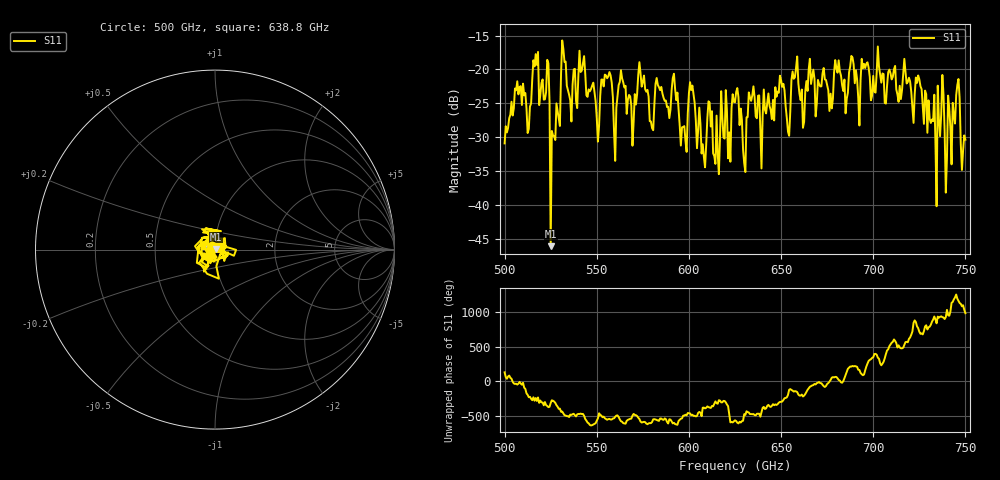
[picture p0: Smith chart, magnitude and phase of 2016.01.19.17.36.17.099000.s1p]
!Created with skrf (http://scikit-rf.org).
# GHz S RI R 50.0
!freq ReS11 ImS11
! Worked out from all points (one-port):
!   401 points, 500 GHz to 750 GHz, reference 50 ohm
!   lowest |S11| = -46.1 dB at 525 GHz (marker M1), VSWR 1.01, Z = 50.4 + j0.332 ohm
!   |S11| at or under -10 dB: start of sweep to end of sweep
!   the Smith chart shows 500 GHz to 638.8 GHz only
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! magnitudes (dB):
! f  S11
! 500 GHz  -30.9
! 506.9 GHz  -21.8
! 513.1 GHz  -28.8
! 516.9 GHz  -17.7
! 523.1 GHz  -18.6
! 525 GHz  -46.1
! 526.2 GHz  -29.8
! 531.2 GHz  -15.7
! 541.9 GHz  -20.2
! 550.6 GHz  -30.7
! 562.5 GHz  -21.9
! 593.8 GHz  -23.4
! 601.9 GHz  -22.4
! 608.1 GHz  -33.0
! 611.2 GHz  -24.9
! 615 GHz  -26.8
! 625 GHz  -24.9
! 630 GHz  -33.9
! 633.8 GHz  -24.7
! 640 GHz  -26.9
! 650.6 GHz  -22.6
! 653.8 GHz  -29.2
! 656.2 GHz  -20.3
! 687.5 GHz  -19.6
! 718.8 GHz  -21.9
! 733.1 GHz  -23.8
! 745.6 GHz  -22.3
! 750 GHz  -30.4
